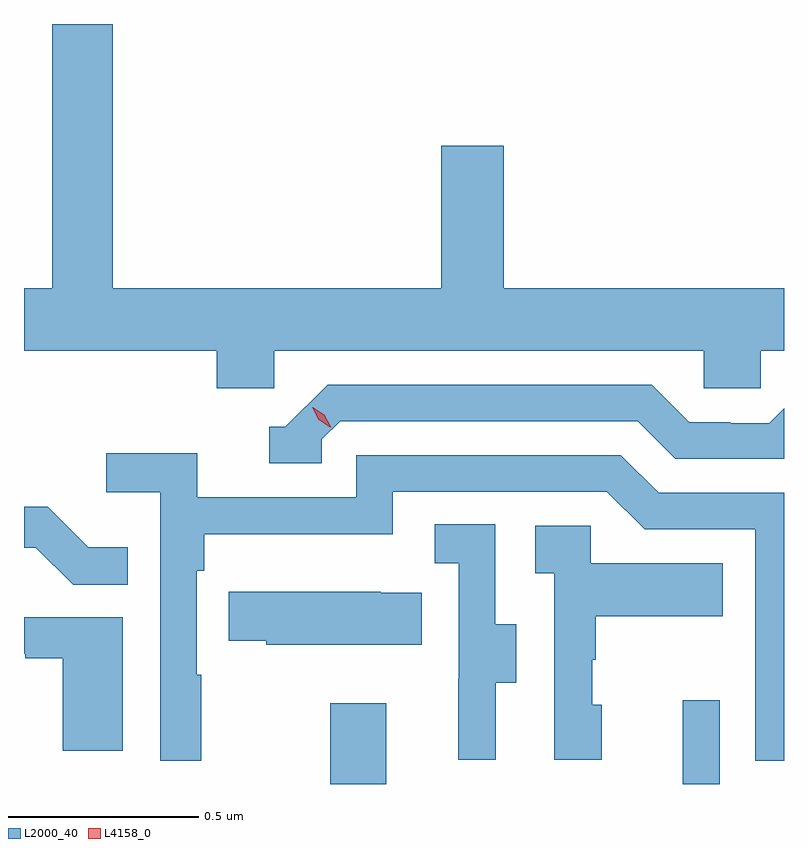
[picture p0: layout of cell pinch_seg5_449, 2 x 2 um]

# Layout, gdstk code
import gdstk
lib = gdstk.Library(unit=1e-6, precision=1e-09)
def R(c, l, rs):  # rectangles x0, y0, x1, y1
    for r in rs: c.add(gdstk.rectangle(r[:2], r[2:], *l))
def P(c, l, *ps):  # polygons
    for p in ps: c.add(gdstk.Polygon(p, *l))
L2000_40 = (2000, 40)
L4158_0 = (4158, 0)

pinch_seg5_449 = lib.new_cell('pinch_seg5_449')
R(pinch_seg5_449, L2000_40, [(907.972,870.272,908.119,870.484), (908.9,870.272,908.997,870.493)])
P(pinch_seg5_449, L2000_40, [(907.824,871.412),(908.955,871.412),(908.955,871.314),(909.105,871.314),(909.105,871.412),(909.166,871.412),(909.166,871.576),(908.428,871.576),(908.428,871.951),(908.264,871.951),(908.264,871.576),(907.4,871.576),(907.4,872.272),(907.24,872.272),(907.24,871.576),(907.166,871.576),(907.166,871.412),(907.673,871.412),(907.673,871.314),(907.824,871.314)],
  [(907.95,871.179),(907.998,871.227),(908.781,871.227),(908.88,871.128),(909.166,871.128),(909.166,871.261),(909.127,871.221),(909.024,871.221),(909.024,871.224),(908.917,871.224),(908.818,871.323),(907.965,871.323),(907.854,871.212),(907.811,871.212),(907.811,871.116),(907.95,871.116)],
  [(907.633,870.56),(907.62,870.56),(907.62,870.833),(907.64,870.833),(907.64,870.929),(908.136,870.929),(908.136,871.041),(908.7,871.041),(908.799,870.942),(909.09,870.942),(909.09,870.333),(909.166,870.333),(909.166,871.038),(908.836,871.038),(908.737,871.137),(908.04,871.137),(908.04,871.026),(907.622,871.026),(907.622,871.142),(907.383,871.142),(907.383,871.04),(907.524,871.04),(907.524,870.333),(907.633,870.333)],
  [(907.439,870.895),(907.335,870.895),(907.228,871.002),(907.166,871.002),(907.166,870.894),(907.197,870.894),(907.295,870.796),(907.439,870.796)],
  [(908.407,870.538),(908.461,870.538),(908.461,870.693),(908.406,870.693),(908.406,870.956),(908.247,870.956),(908.247,870.853),(908.31,870.853),(908.31,870.549),(908.309,870.549),(908.309,870.336),(908.407,870.336)],
  [(908.686,870.48),(908.661,870.48),(908.661,870.599),(908.671,870.599),(908.671,870.713),(909.005,870.713),(909.005,870.853),(908.658,870.853),(908.658,870.951),(908.511,870.951),(908.511,870.827),(908.562,870.827),(908.562,870.336),(908.686,870.336)],
  [(908.213,870.775),(908.105,870.775),(908.105,870.778),(907.705,870.778),(907.705,870.649),(907.803,870.649),(907.803,870.638),(908.213,870.638)],
  [(907.426,870.711),(907.166,870.711),(907.166,870.615),(907.169,870.615),(907.169,870.603),(907.268,870.603),(907.268,870.36),(907.426,870.36)])
P(pinch_seg5_449, L4158_0, [(907.972,871.211),(907.941,871.231),(907.925,871.264),(907.925,871.264),(907.926,871.264),(907.956,871.244),(907.973,871.212),(907.973,871.211)])

lib.write_gds('pinch_seg5_449.gds')
